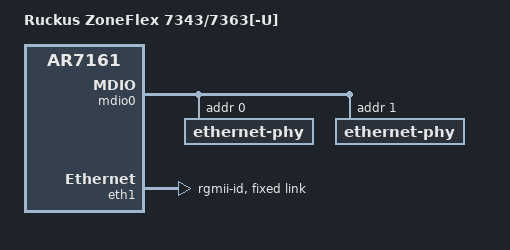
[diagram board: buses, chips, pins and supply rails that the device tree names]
// SPDX-License-Identifier: GPL-2.0-or-later OR MIT

#include "ar7161_ruckus_zf734x.dtsi"

/ {
	model = "Ruckus ZoneFlex 7343/7363[-U]";
	compatible = "ruckus,zf7363", "qca,ar7161";
};

&mdio0 {
	ethernet-phy@0 {
		reg = <0x0>;
		max-speed = <100>;
	};

	ethernet-phy@1 {
		reg = <0x1>;
		max-speed = <100>;
	};
};

&eth1 {
	status = "okay";
	pll-data = <0x00110000 0x00001099 0x00991099>;
	nvmem-cells = <&macaddr_bdata_6c>;
	nvmem-cell-names = "mac-address";
	phy-mode = "rgmii-id";

	fixed-link {
		speed = <100>;
		full-duplex;
	};
};

&board_data {
	nvmem-layout {
		compatible = "fixed-layout";
		#address-cells = <1>;
		#size-cells = <1>;

		macaddr_bdata_60: macaddr@60 {
			reg = <0x60 0x6>;
		};

		macaddr_bdata_66: macaddr@66 {
			reg = <0x66 0x6>;
		};

		macaddr_bdata_6c: macaddr@6c {
			reg = <0x6c 0x6>;
		};

		macaddr_bdata_76: macaddr@76 {
			reg = <0x76 0x6>;
		};
	};
};
